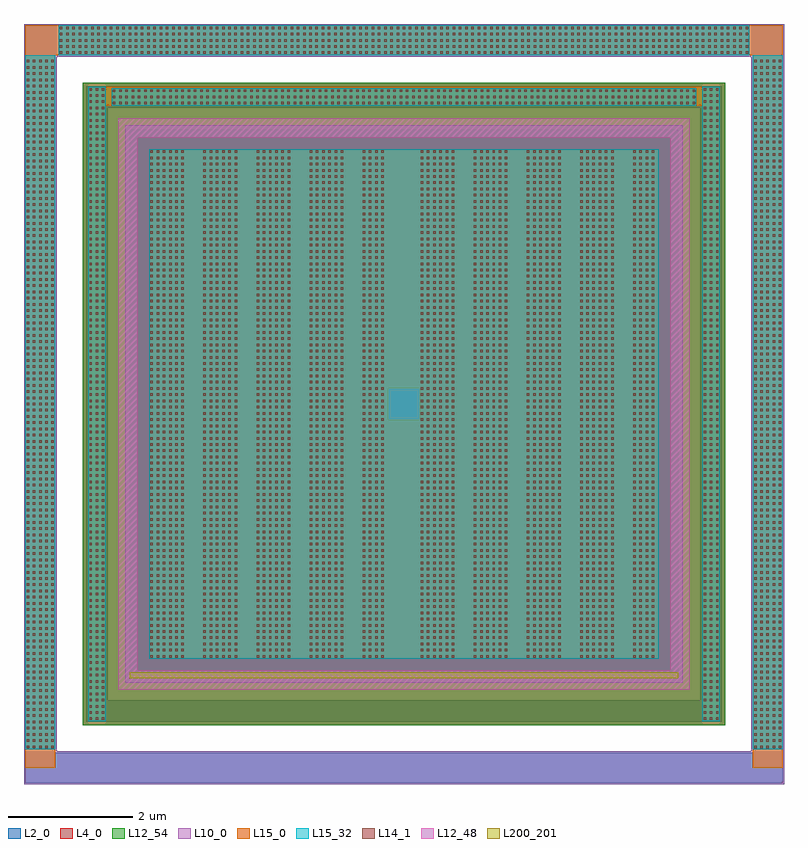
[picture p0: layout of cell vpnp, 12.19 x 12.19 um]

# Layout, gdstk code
import gdstk
lib = gdstk.Library(unit=1e-6, precision=1e-09)
def R(c, l, rs):  # rectangles x0, y0, x1, y1
    for r in rs: c.add(gdstk.rectangle(r[:2], r[2:], *l))
def A(c, l, x, y, w, h, nx, ny, dx, dy):  # array of equal rectangles
    R(c, l, [(x+i*dx, y+j*dy, x+i*dx+w, y+j*dy+h) for i in range(nx) for j in range(ny)])
L2_0 = (2, 0)
L4_0 = (4, 0)
L10_0 = (10, 0)
L12_48 = (12, 48)
L12_54 = (12, 54)
L14_1 = (14, 1)
L15_0 = (15, 0)
L15_32 = (15, 32)
L200_201 = (200, 201)

vpnp = lib.new_cell('vpnp')
R(vpnp, L2_0, [(-12.579,-4.609,-0.427,-4.129), (-12.579,-4.129,-12.099,7.063), (-0.907,-4.129,-0.427,7.063), (-11.599,-3.629,-1.407,-3.289), (-11.599,-3.289,-11.259,6.223), (-1.747,-3.289,-1.407,6.223), (-10.903,-2.933,-2.103,5.867), (-11.599,6.223,-1.407,6.563), (-12.579,7.063,-0.427,7.543)])
R(vpnp, L4_0, [(-11.655,-3.685,-1.351,6.619)])
R(vpnp, L10_0, [(-12.6,-4.63,-0.406,-4.108), (-12.6,-4.108,-12.078,7.042), (-0.928,-4.108,-0.406,7.042), (-10.973,-3.003,-2.033,5.937), (-12.6,7.042,-0.406,7.564)])
R(vpnp, L12_48, [(-11.084,-3.114,-1.922,-2.808), (-11.084,-2.808,-10.778,5.742), (-2.228,-2.808,-1.922,5.742), (-11.084,5.742,-1.922,6.048)])
R(vpnp, L12_54, [(-11.655,-3.685,-1.351,6.619)])
A(vpnp, L14_1, -12.559, -4.053, 0.04, 0.04, 5, 111, 0.1, 0.1)
A(vpnp, L14_1, -0.887, -4.053, 0.04, 0.04, 5, 111, 0.1, 0.1)
A(vpnp, L14_1, -11.549, -3.603, 0.04, 0.04, 3, 102, 0.1, 0.1)
A(vpnp, L14_1, -1.697, -3.603, 0.04, 0.04, 3, 102, 0.1, 0.1)
A(vpnp, L14_1, -10.573, -2.603, 0.04, 0.04, 6, 82, 0.1, 0.1)
A(vpnp, L14_1, -9.721, -2.603, 0.04, 0.04, 6, 82, 0.1, 0.1)
A(vpnp, L14_1, -8.869, -2.603, 0.04, 0.04, 6, 82, 0.1, 0.1)
A(vpnp, L14_1, -8.017, -2.603, 0.04, 0.04, 6, 82, 0.1, 0.1)
A(vpnp, L14_1, -7.165, -2.603, 0.04, 0.04, 4, 82, 0.1, 0.1)
A(vpnp, L14_1, -6.235, -2.603, 0.04, 0.04, 6, 82, 0.1, 0.1)
A(vpnp, L14_1, -5.383, -2.603, 0.04, 0.04, 6, 82, 0.1, 0.1)
A(vpnp, L14_1, -4.531, -2.603, 0.04, 0.04, 6, 82, 0.1, 0.1)
A(vpnp, L14_1, -3.679, -2.603, 0.04, 0.04, 6, 82, 0.1, 0.1)
A(vpnp, L14_1, -2.827, -2.603, 0.04, 0.04, 4, 82, 0.1, 0.1)
A(vpnp, L14_1, -11.173, 6.273, 0.04, 0.04, 94, 3, 0.1, 0.1)
A(vpnp, L14_1, -12.023, 7.083, 0.04, 0.04, 111, 5, 0.1, 0.1)
R(vpnp, L15_0, [(-12.577,-4.369,-12.101,7.541), (-0.905,-4.369,-0.429,7.541), (-11.567,-3.621,-11.291,6.555), (-1.715,-3.621,-1.439,6.555), (-10.591,-2.621,-2.415,1.217), (-10.591,1.217,-6.753,1.717), (-6.253,1.217,-2.415,1.717), (-10.591,1.717,-2.415,5.555), (-11.291,6.255,-1.715,6.555), (-12.101,7.065,-0.905,7.541)])
R(vpnp, L15_32, [(-12.577,-4.071,-12.101,7.065), (-0.905,-4.071,-0.429,7.065), (-11.567,-3.621,-11.291,6.555), (-1.715,-3.621,-1.439,6.555), (-10.591,-2.621,-2.415,5.555), (-11.191,6.255,-1.815,6.531), (-12.041,7.065,-0.965,7.541)])
R(vpnp, L200_201, [(-10.903,-2.933,-2.103,-2.833)])

lib.write_gds('vpnp.gds')
